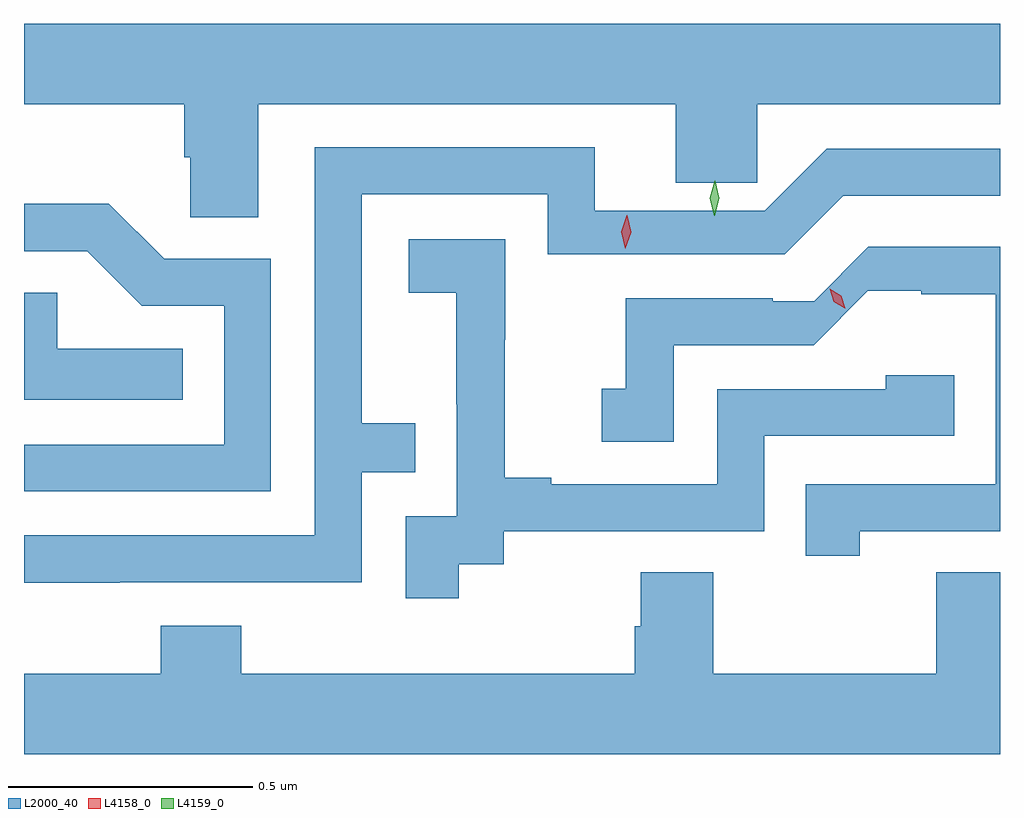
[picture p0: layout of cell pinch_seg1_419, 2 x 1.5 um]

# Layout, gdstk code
import gdstk
lib = gdstk.Library(unit=1e-6, precision=1e-09)
def P(c, l, *ps):  # polygons
    for p in ps: c.add(gdstk.Polygon(p, *l))
L2000_40 = (2000, 40)
L4158_0 = (4158, 0)
L4159_0 = (4159, 0)

pinch_seg1_419 = lib.new_cell('pinch_seg1_419')
P(pinch_seg1_419, L2000_40, [(921.139,526.424),(921.995,526.424),(921.995,526.263),(922.162,526.263),(922.162,526.424),(922.659,526.424),(922.659,526.588),(920.659,526.588),(920.659,526.424),(920.987,526.424),(920.987,526.315),(921,526.315),(921,526.192),(921.139,526.192)],
  [(920.855,525.444),(921.351,525.444),(921.351,525.669),(921.461,525.669),(921.461,525.77),(921.351,525.77),(921.351,526.239),(921.732,526.239),(921.732,526.116),(922.218,526.116),(922.338,526.236),(922.659,526.236),(922.659,526.332),(922.304,526.332),(922.177,526.205),(921.829,526.205),(921.829,526.335),(921.255,526.335),(921.255,525.54),(920.659,525.54),(920.659,525.443),(920.855,525.443)],
  [(921.165,526.107),(920.946,526.107),(920.833,526.22),(920.659,526.22),(920.659,526.122),(920.789,526.122),(920.9,526.011),(921.069,526.011),(921.069,525.726),(920.659,525.726),(920.659,525.63),(921.165,525.63)],
  [(921.55,525.481),(921.642,525.481),(921.642,525.549),(922.176,525.549),(922.176,525.744),(922.565,525.744),(922.565,525.868),(922.425,525.868),(922.425,525.84),(922.08,525.84),(922.08,525.645),(921.739,525.645),(921.739,525.658),(921.644,525.658),(921.644,525.941),(921.645,525.941),(921.645,526.147),(921.447,526.147),(921.447,526.037),(921.545,526.037),(921.545,525.809),(921.546,525.809),(921.546,525.579),(921.441,525.579),(921.441,525.411),(921.55,525.411)],
  [(922.372,525.549),(922.659,525.549),(922.659,526.131),(922.389,526.131),(922.278,526.02),(922.193,526.02),(922.193,526.026),(921.892,526.026),(921.892,525.841),(921.843,525.841),(921.843,525.732),(921.99,525.732),(921.99,525.93),(922.277,525.93),(922.388,526.041),(922.498,526.041),(922.498,526.034),(922.65,526.034),(922.65,525.645),(922.261,525.645),(922.261,525.498),(922.372,525.498)],
  [(920.984,525.922),(920.727,525.922),(920.727,526.037),(920.659,526.037),(920.659,525.818),(920.984,525.818)],
  [(922.659,525.464),(922.528,525.464),(922.528,525.256),(922.071,525.256),(922.071,525.464),(921.923,525.464),(921.923,525.354),(921.911,525.354),(921.911,525.256),(921.104,525.256),(921.104,525.355),(920.939,525.355),(920.939,525.256),(920.659,525.256),(920.659,525.092),(922.659,525.092)])
P(pinch_seg1_419, L4158_0, [(922.341,526.005),(922.318,526.019),(922.31,526.045),(922.31,526.045),(922.31,526.045),(922.334,526.031),(922.342,526.005),(922.342,526.005)],
  [(921.891,526.127),(921.891,526.127),(921.883,526.162),(921.894,526.196),(921.894,526.196),(921.895,526.196),(921.903,526.161),(921.891,526.127)])
P(pinch_seg1_419, L4159_0, [(922.073,526.195),(922.073,526.195),(922.064,526.231),(922.074,526.267),(922.075,526.267),(922.075,526.267),(922.084,526.231),(922.074,526.195)])

lib.write_gds('pinch_seg1_419.gds')
